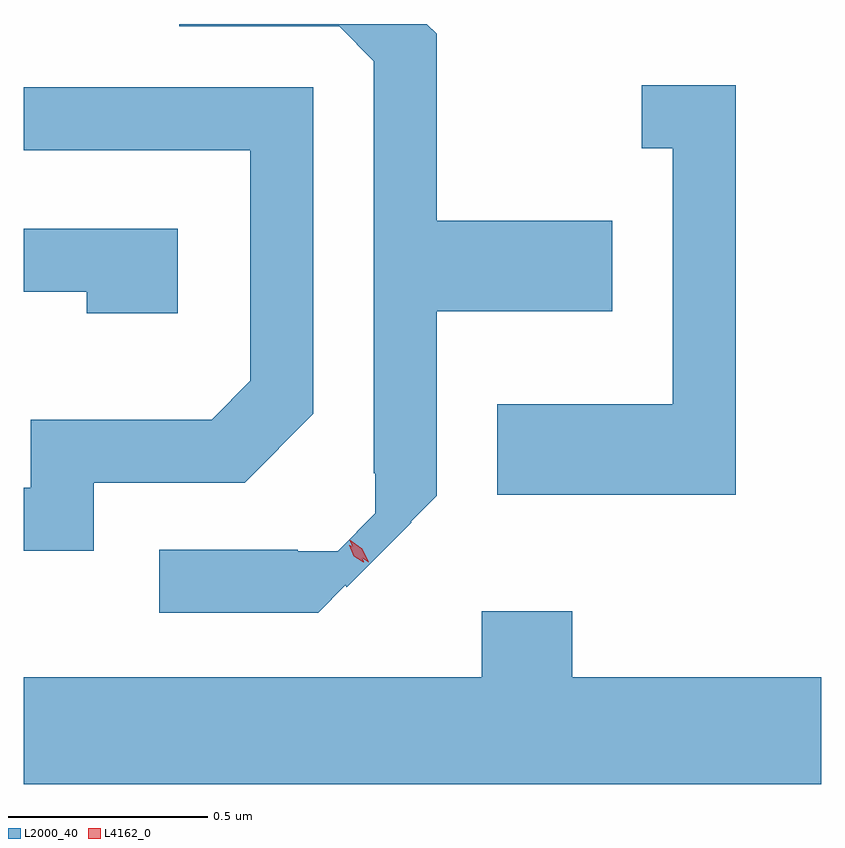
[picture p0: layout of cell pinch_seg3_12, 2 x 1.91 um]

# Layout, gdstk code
import gdstk
lib = gdstk.Library(unit=1e-6, precision=1e-09)
def P(c, l, *ps):  # polygons
    for p in ps: c.add(gdstk.Polygon(p, *l))
L2000_40 = (2000, 40)
L4162_0 = (4162, 0)

pinch_seg3_12 = lib.new_cell('pinch_seg3_12')
P(pinch_seg3_12, L2000_40, [(852.189,1241.954),(852.193,1241.95),(852.356,1242.112),(852.354,1242.114),(852.419,1242.179),(852.419,1242.641),(852.859,1242.641),(852.859,1242.869),(852.419,1242.869),(852.419,1243.337),(852.394,1243.362),(851.773,1243.362),(851.773,1243.356),(852.174,1243.356),(852.261,1243.269),(852.261,1242.235),(852.265,1242.235),(852.265,1242.135),(852.17,1242.04),(852.07,1242.04),(852.07,1242.044),(851.723,1242.044),(851.723,1241.886),(852.121,1241.886)],
  [(853.169,1243.209),(852.933,1243.209),(852.933,1243.051),(853.011,1243.051),(853.011,1242.409),(852.571,1242.409),(852.571,1242.181),(853.169,1242.181)],
  [(851.559,1242.211),(851.937,1242.211),(852.109,1242.384),(852.109,1243.204),(851.383,1243.204),(851.383,1243.046),(851.951,1243.046),(851.951,1242.467),(851.854,1242.369),(851.401,1242.369),(851.401,1242.199),(851.383,1242.199),(851.383,1242.041),(851.559,1242.041)],
  [(851.769,1242.849),(851.383,1242.849),(851.383,1242.691),(851.541,1242.691),(851.541,1242.636),(851.769,1242.636)],
  [(853.383,1241.724),(852.759,1241.724),(852.759,1241.889),(852.531,1241.889),(852.531,1241.724),(851.383,1241.724),(851.383,1241.456),(853.383,1241.456)])
P(pinch_seg3_12, L4162_0, [(852.248,1242.012),(852.216,1242.033),(852.2,1242.067),(852.2,1242.068),(852.201,1242.068),(852.232,1242.046),(852.248,1242.013),(852.248,1242.012)],
  [(852.235,1242.012),(852.21,1242.027),(852.199,1242.055),(852.199,1242.055),(852.2,1242.055),(852.225,1242.04),(852.236,1242.013),(852.236,1242.012)])

lib.write_gds('pinch_seg3_12.gds')
